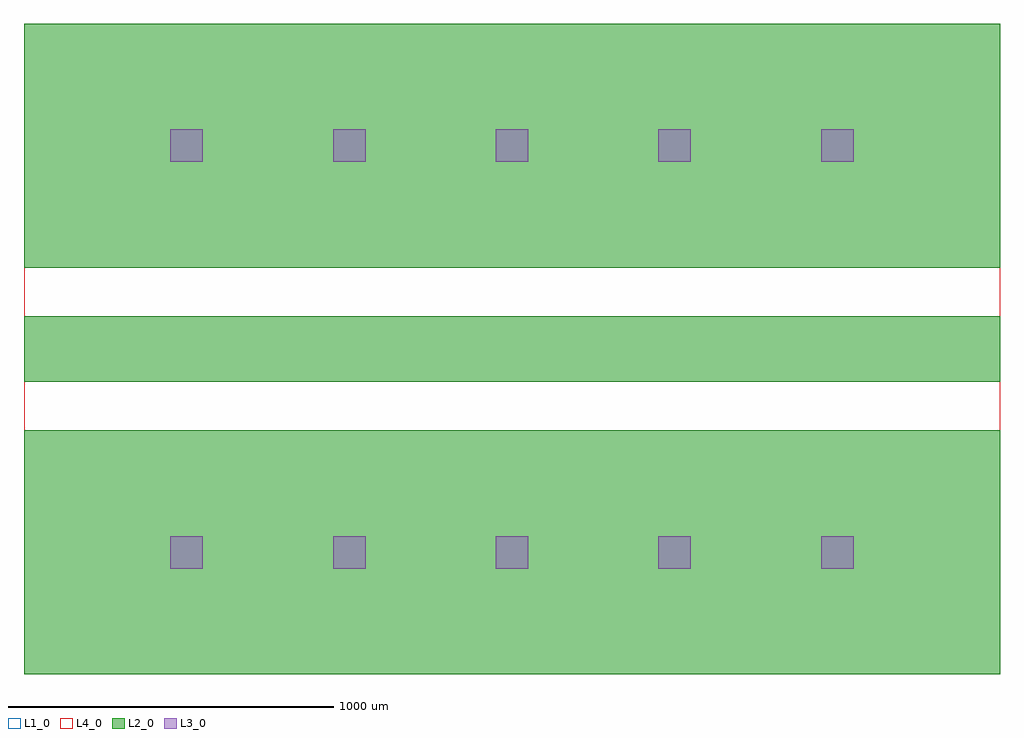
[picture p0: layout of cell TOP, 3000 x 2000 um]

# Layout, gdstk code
import gdstk
lib = gdstk.Library(unit=1e-6, precision=1e-09)
def R(c, l, rs):  # rectangles x0, y0, x1, y1
    for r in rs: c.add(gdstk.rectangle(r[:2], r[2:], *l))
def A(c, l, x, y, w, h, nx, ny, dx, dy):  # array of equal rectangles
    R(c, l, [(x+i*dx, y+j*dy, x+i*dx+w, y+j*dy+h) for i in range(nx) for j in range(ny)])
L1_0 = (1, 0)
L2_0 = (2, 0)
L3_0 = (3, 0)
L4_0 = (4, 0)

top = lib.new_cell('TOP')
R(top, L1_0, [(0,0,3000,2000)])
R(top, L2_0, [(0,0,3000,750), (0,900,3000,1100), (0,1250,3000,2000)])
A(top, L3_0, 450, 325, 100, 100, 5, 2, 500, 1250)
R(top, L4_0, [(0,0,3000,2000)])

lib.write_gds('TOP.gds')
